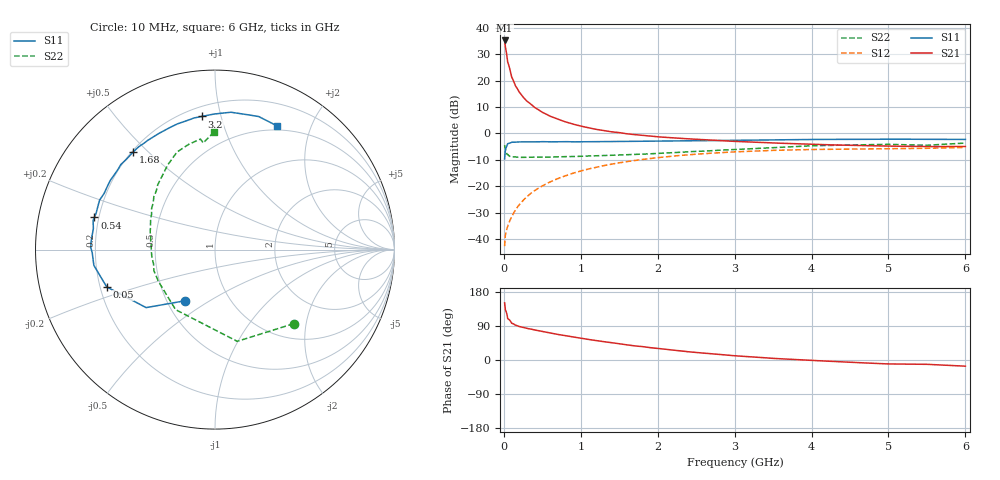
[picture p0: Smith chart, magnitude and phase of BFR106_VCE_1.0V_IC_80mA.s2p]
! Infineon Technologies  Discrete & RF Semiconductors
! BFR106
! VCE =  1.0 V,  IC =  80 mA
! Common Emitter S-Parameters:  Nov 2015
# GHz  S  MA  R  50
!  f  S11  S21  S12  S22
! GHz  MAG  ANG  MAG  ANG  MAG  ANG  MAG  ANG
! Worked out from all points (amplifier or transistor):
!   210 points, 10 MHz to 6 GHz, reference 50 ohm
!   highest |S21| = 35.2 dB at 10 MHz (marker M1)
!   |S21| within 3 dB of that: start of sweep to 24.2 MHz
!   unconditionally stable (mu >= 1): 94.24 MHz to end of sweep
!   at 185 MHz: K = 1.16, MAG = 19.6 dB, |S12| = -27.6 dB
!   at 1.52 GHz: K = 1.15, MAG = 3.3 dB, |S12| = -11.0 dB
!   at 6 GHz: K = 1.04, MAG = -1.0 dB, |S12| = -5.3 dB
!   S11 on the Smith chart (normalised r, x): 10 MHz: 0.62, -0.40; 50 MHz: 0.23, -0.16; 540 MHz: 0.18, +0.13; 1.68 GHz: 0.21, +0.45; 3.2 GHz: 0.26, +0.87; 6 GHz: 0.45, +1.53
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0.01  0.3288 -120.0  57.84 150.8  0.0073 64.5  0.6019 -43.3
0.02  0.5018 -139.9  44.22 132.2  0.0118 54.7  0.5259 -76.4
0.05  0.6382 -161.0  22.65 109.3  0.0175 53.2  0.4001 -123.3
0.1  0.6806 -172.6  11.92 97.4  0.0261 60.2  0.3616 -150.7
0.15  0.6833 -178.1  8.05 92.1  0.0353 65.2  0.3601 -161.1
0.2  0.6923 179.0  6.091 88.4  0.0443 68.1  0.3514 -166.9
0.24  0.6918 176.8  5.11 86.3  0.0517 69.3  0.3527 -170.6
0.26  0.6914 175.8  4.711 85.2  0.0556 69.9  0.3534 -172.0
0.3  0.6897 174.2  4.092 83.4  0.0634 70.8  0.3542 -173.9
0.4  0.6877 170.2  3.112 79.2  0.0824 71.0  0.3549 -178.3
0.5  0.6981 166.6  2.519 75.3  0.1011 70.3  0.3549 178.3
0.54  0.6956 165.1  2.36 73.8  0.1087 69.8  0.3553 177.3
0.7  0.6963 159.3  1.861 67.4  0.1389 68.0  0.3603 173.6
1.02  0.6962 148.9  1.357 57.0  0.1977 62.4  0.3696 166.5
1.3  0.7008 140.7  1.13 48.3  0.2454 56.9  0.3803 160.6
1.68  0.7096 129.9  0.956 37.8  0.3041 49.7  0.4001 153.2
2.02  0.7149 121.1  0.859 30.1  0.3499 43.0  0.4217 146.7
3.1  0.7438 97.3  0.697 9.9  0.4526 23.8  0.5033 126.0
3.2  0.7456 95.6  0.687 8.6  0.4584 22.2  0.5117 124.2
4.1  0.7701 82.2  0.618 -2.0  0.4976 9.1  0.5868 109.8
5.1  0.7784 70.8  0.573 -10.6  0.5157 -1.8  0.6165 97.3
6  0.7704 63.3  0.566 -16.3  0.5445 -9.9  0.6569 90.4
